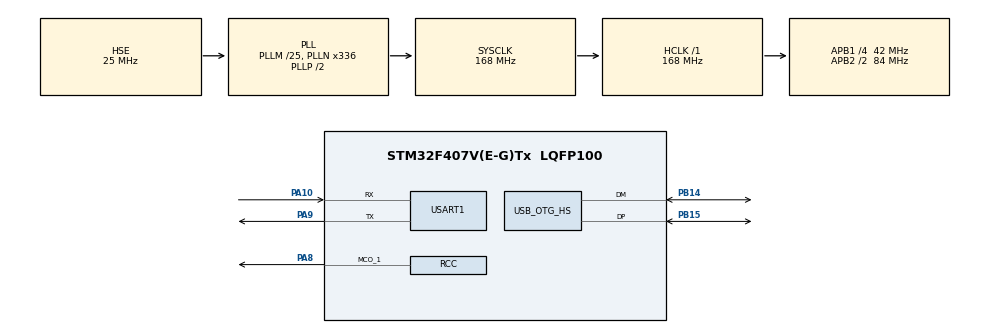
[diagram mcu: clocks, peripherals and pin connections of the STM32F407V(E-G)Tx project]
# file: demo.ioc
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FATFS._CODE_PAGE=850
FATFS._FS_EXFAT=1
FATFS._MAX_LFN=128
FATFS._STRF_ENCODE=0
FATFS._USE_LFN=2
Mcu.Family=STM32F4
Mcu.Name=STM32F407V(E-G)Tx
Mcu.Package=LQFP100
NVIC.OTG_HS_IRQn=true\:0\:0\:false\:false\:true\:false\:true\:true
NVIC.PriorityGroup=NVIC_PRIORITYGROUP_4
NVIC.TIM1_TRG_COM_TIM11_IRQn=true\:0\:0\:false\:false\:true\:false\:true\:true
NVIC.TimeBase=TIM1_TRG_COM_TIM11_IRQn
NVIC.TimeBaseIP=TIM11
PA10.Mode=Asynchronous
PA10.Signal=USART1_RX
PA13.Mode=Serial_Wire
PA13.Signal=SYS_JTMS-SWDIO
PA14.Mode=Serial_Wire
PA14.Signal=SYS_JTCK-SWCLK
PA8.GPIO_Speed=GPIO_SPEED_FREQ_VERY_HIGH
PA8.Mode=Clock-out-1
PA8.Signal=RCC_MCO_1
PA9.Mode=Asynchronous
PA9.Signal=USART1_TX
PB14.Mode=Host_FS
PB14.Signal=USB_OTG_HS_DM
PB15.Mode=Host_FS
PB15.Signal=USB_OTG_HS_DP
PC14-OSC32_IN.Mode=LSE-External-Oscillator
PC14-OSC32_IN.Signal=RCC_OSC32_IN
PC15-OSC32_OUT.Mode=LSE-External-Oscillator
PC15-OSC32_OUT.Signal=RCC_OSC32_OUT
PH0-OSC_IN.Mode=HSE-External-Oscillator
PH0-OSC_IN.Signal=RCC_OSC_IN
PH1-OSC_OUT.Mode=HSE-External-Oscillator
PH1-OSC_OUT.Signal=RCC_OSC_OUT
ProjectManager.HeapSize=0x400
ProjectManager.StackSize=0x1000
ProjectManager.TargetToolchain=MDK-ARM V5
RCC.48MHZClocksFreq_Value=48000000
RCC.AHBFreq_Value=168000000
RCC.APB1CLKDivider=RCC_HCLK_DIV4
RCC.APB1Freq_Value=42000000
RCC.APB1TimFreq_Value=84000000
RCC.APB2CLKDivider=RCC_HCLK_DIV2
RCC.APB2Freq_Value=84000000
RCC.APB2TimFreq_Value=168000000
RCC.CortexFreq_Value=168000000
RCC.HCLKFreq_Value=168000000
RCC.HSE_VALUE=25000000
RCC.HSI_VALUE=16000000
RCC.PLLM=25
RCC.PLLN=336
RCC.PLLQ=7
RCC.SYSCLKFreq_VALUE=168000000
RCC.SYSCLKSource=RCC_SYSCLKSOURCE_PLLCLK
RCC.VCOOutputFreq_Value=336000000
USART1.VirtualMode=VM_ASYNC
USB_HOST.SW_VBUS_DRIVE_MSC_HS=true
USB_HOST.USBH_DEBUG_LEVEL-MSC_HS=2
USB_HOST.USBH_HandleTypeDef-MSC_HS=hUsbHostHS
USB_HOST.VirtualModeHS=Msc
USB_OTG_HS.VirtualMode-Host_FS=Host_FS
VP_FATFS_VS_USB.Mode=USB
VP_SYS_VS_tim11.Mode=TIM11
VP_USB_HOST_VS_USB_HOST_MSC_HS.Mode=MSC_HS
board=custom

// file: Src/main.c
/* USER CODE BEGIN Header */
/**
 ******************************************************************************
 * @file           : main.c
 * @brief          : Main program body
 ******************************************************************************
 * @attention
 *
 * <h2><center>&copy; Copyright (c) 2019 STMicroelectronics.
 * All rights reserved.</center></h2>
 *
 * This software component is licensed by ST under Ultimate Liberty license
 * SLA0044, the "License"; You may not use this file except in compliance with
 * the License. You may obtain a copy of the License at:
 *                             www.st.com/SLA0044
 *
 ******************************************************************************
 */
/* USER CODE END Header */
#include "main.h"
#include "fatfs.h"
#include "usb_host.h"

/* USER CODE BEGIN Includes */
#include "usbh_msc_scsi.h"
/* USER CODE END Includes */

UART_HandleTypeDef huart1;

/* USER CODE BEGIN PV */
FATFS   fs;
FIL     UsbDataFile;
FRESULT FSresult;

uint32_t byteswritten, bytesread;                /* File write/read counts */
char     wtext[256] = "APP download was done! "; /* File write buffer */

#define IAP_PAGE_SIZE 2048  // 为了兼容F103

const char APP_FILE_NAME[] = "demo.bin";
FIL        UpdateFiles;
BYTE       iap_buffer[IAP_PAGE_SIZE];
UINT       BytesRead;
typedef void (*pFunction)(void);
pFunction     Jump_To_Application;
uint32_t      JumpAddress;
__IO uint32_t FlashProtection = 0;
uint8_t       tab_1024[1024]  = {0};

extern ApplicationTypeDef Appli_state;
/* USER CODE END PV */

void        SystemClock_Config(void);
static void MX_GPIO_Init(void);
static void MX_USART1_UART_Init(void);
void        MX_USB_HOST_Process(void);

/* USER CODE BEGIN PFP */
void FirmwareUpdate(void);
/* USER CODE END PFP */

int main(void)
{

    /* MCU Configuration--------------------------------------------------------*/

    /* Reset of all peripherals, Initializes the Flash interface and the Systick. */
    HAL_Init();

    /* Configure the system clock */
    SystemClock_Config();

    /* Initialize all configured peripherals */
    MX_GPIO_Init();
    MX_FATFS_Init();
    MX_USB_HOST_Init();
    MX_USART1_UART_Init();
    /* USER CODE BEGIN 2 */

    uint32_t timeout = HAL_GetTick() + 5000;  // 5s

    __HAL_FLASH_CLEAR_FLAG(FLASH_FLAG_EOP | FLASH_FLAG_OPERR | FLASH_FLAG_WRPERR |
                           FLASH_FLAG_PGAERR | FLASH_FLAG_PGPERR | FLASH_FLAG_PGSERR);
    printf("start program...\r\n");

    if (FLASH_If_GetWriteProtectionStatus() == 0)
    {
        printf("Flash Write protection is enabled.");

        if (FLASH_If_DisableWriteProtection() == 1)
        {
            printf("\n\rWrite protection is disabled.\n\r");
        }
        else
        {
            printf("Failed to disable write protection.\r\n");
        }
    }
    /* USER CODE END 2 */

    /* Infinite loop */
    while (1)
    {
        MX_USB_HOST_Process();

        /* USER CODE BEGIN 3 */
        if (Appli_state == APPLICATION_READY)
        {
            if (f_mount(&fs, (TCHAR const*)USBHPath, 1) != FR_OK)  // 这里USBHPath="0:/" {0x30,0x3a,0x2f,0x00}
            {
                /* efs initialisation fails*/
                USBH_ErrLog("> Failed to load file system ");
            }
            USBH_UsrLog("> Load file system OK");
            USBH_UsrLog("> start to iap ");
            FirmwareUpdate();
            FSresult = f_open(&UsbDataFile, "APPresult.txt", FA_CREATE_ALWAYS | FA_WRITE | FA_READ);
            if (FSresult == FR_OK)
            {
                USBH_UsrLog("> opne/create file OK");
            }
            else if (FSresult == FR_EXIST)
            {
                USBH_UsrLog("> file is already existed. Overwire it.");
            }
            else
            {
                USBH_ErrLog("> Failed to open/create file ");
            }
            FSresult = f_write(&UsbDataFile, wtext, strlen(wtext), (void*)&byteswritten);
            sprintf(wtext, "app name is %s.", APP_FILE_NAME);
            f_write(&UsbDataFile, wtext, strlen(wtext), (void*)&byteswritten);
            if (FSresult == FR_OK)
            {
                USBH_UsrLog("> write file OK");
            }
            else
            {
                USBH_ErrLog("> Failed to write file ");
            }
            f_close(&UsbDataFile);
            USBH_UsrLog("> close file ");
            FATFS_UnLinkDriver(USBHPath);
            USBH_UsrLog("> disconnect file system ");
            Appli_state = APPLICATION_IDLE;
        }
        else if (Appli_state == APPLICATION_IDLE && (HAL_GetTick() > timeout))
        {
            printf("No USB Disk, Jump_To_Application~\n\r");
#if defined(USE_HAL_DRIVER)
            HAL_RCC_DeInit();
#endif /* defined(USE_HAL_DRIVER) */
#if defined(USE_STDPERIPH_DRIVER)
            RCC_DeInit();
#endif
            HAL_NVIC_DisableIRQ(TIM1_TRG_COM_TIM11_IRQn);
            HAL_NVIC_DisableIRQ(OTG_HS_IRQn);
            JumpAddress = *(__IO uint32_t*)(APPLICATION_ADDRESS + 4);

            Jump_To_Application = (pFunction)JumpAddress;
            __set_MSP(*(__IO uint32_t*)APPLICATION_ADDRESS);
            Jump_To_Application();
        }
    }
    /* USER CODE END 3 */
}

void SystemClock_Config(void)
{
    RCC_OscInitTypeDef RCC_OscInitStruct = {0};
    RCC_ClkInitTypeDef RCC_ClkInitStruct = {0};

    /** Configure the main internal regulator output voltage
     */
    __HAL_RCC_PWR_CLK_ENABLE();
    __HAL_PWR_VOLTAGESCALING_CONFIG(PWR_REGULATOR_VOLTAGE_SCALE1);

    /** Initializes the RCC Oscillators according to the specified parameters
     * in the RCC_OscInitTypeDef structure.
     */
    RCC_OscInitStruct.OscillatorType      = RCC_OSCILLATORTYPE_HSI | RCC_OSCILLATORTYPE_HSE;
    RCC_OscInitStruct.HSEState            = RCC_HSE_ON;
    RCC_OscInitStruct.HSIState            = RCC_HSI_ON;
    RCC_OscInitStruct.HSICalibrationValue = RCC_HSICALIBRATION_DEFAULT;
    RCC_OscInitStruct.PLL.PLLState        = RCC_PLL_ON;
    RCC_OscInitStruct.PLL.PLLSource       = RCC_PLLSOURCE_HSE;
    RCC_OscInitStruct.PLL.PLLM            = 25;
    RCC_OscInitStruct.PLL.PLLN            = 336;
    RCC_OscInitStruct.PLL.PLLP            = RCC_PLLP_DIV2;
    RCC_OscInitStruct.PLL.PLLQ            = 7;
    if (HAL_RCC_OscConfig(&RCC_OscInitStruct) != HAL_OK)
    {
        Error_Handler();
    }

    /** Initializes the CPU, AHB and APB buses clocks
     */
    RCC_ClkInitStruct.ClockType      = RCC_CLOCKTYPE_HCLK | RCC_CLOCKTYPE_SYSCLK | RCC_CLOCKTYPE_PCLK1 | RCC_CLOCKTYPE_PCLK2;
    RCC_ClkInitStruct.SYSCLKSource   = RCC_SYSCLKSOURCE_PLLCLK;
    RCC_ClkInitStruct.AHBCLKDivider  = RCC_SYSCLK_DIV1;
    RCC_ClkInitStruct.APB1CLKDivider = RCC_HCLK_DIV4;
    RCC_ClkInitStruct.APB2CLKDivider = RCC_HCLK_DIV2;

    if (HAL_RCC_ClockConfig(&RCC_ClkInitStruct, FLASH_LATENCY_5) != HAL_OK)
    {
        Error_Handler();
    }
    HAL_RCC_MCOConfig(RCC_MCO1, RCC_MCO1SOURCE_HSI, RCC_MCODIV_1);
}

static void MX_USART1_UART_Init(void)
{

    huart1.Instance          = USART1;
    huart1.Init.BaudRate     = 115200;
    huart1.Init.WordLength   = UART_WORDLENGTH_8B;
    huart1.Init.StopBits     = UART_STOPBITS_1;
    huart1.Init.Parity       = UART_PARITY_NONE;
    huart1.Init.Mode         = UART_MODE_TX_RX;
    huart1.Init.HwFlowCtl    = UART_HWCONTROL_NONE;
    huart1.Init.OverSampling = UART_OVERSAMPLING_16;
    if (HAL_UART_Init(&huart1) != HAL_OK)
    {
        Error_Handler();
    }
}

static void MX_GPIO_Init(void)
{
    GPIO_InitTypeDef GPIO_InitStruct = {0};

    /* GPIO Ports Clock Enable */
    __HAL_RCC_GPIOC_CLK_ENABLE();
    __HAL_RCC_GPIOH_CLK_ENABLE();
    __HAL_RCC_GPIOB_CLK_ENABLE();
    __HAL_RCC_GPIOA_CLK_ENABLE();

    /*Configure GPIO pin : PA8 */
    GPIO_InitStruct.Pin       = GPIO_PIN_8;
    GPIO_InitStruct.Mode      = GPIO_MODE_AF_PP;
    GPIO_InitStruct.Pull      = GPIO_NOPULL;
    GPIO_InitStruct.Speed     = GPIO_SPEED_FREQ_VERY_HIGH;
    GPIO_InitStruct.Alternate = GPIO_AF0_MCO;
    HAL_GPIO_Init(GPIOA, &GPIO_InitStruct);

}

/* USER CODE BEGIN 4 */
int fputc(int ch, FILE* f)
{
    HAL_UART_Transmit(&huart1, (unsigned char*)&ch, 1, 1000);
    return (ch);
}

int fgetc(FILE* f)
{
    uint8_t ch = 0;
    HAL_UART_Receive(&huart1, &ch, 1, 0xffff);
    return ch;
}

void FirmwareUpdate(void)
{
    uint8_t   iap_status = HAL_OK;
    uint32_t  addrx, endaddr;
    uint32_t  iap_offset;
    uint32_t* pBuffer;

    {
        FSresult = f_open(&UpdateFiles, APP_FILE_NAME, FA_OPEN_EXISTING | FA_READ);

        if (FR_OK != FSresult)
        {
            printf("Not Find new App file :  ");
            printf(APP_FILE_NAME);
            printf("\n\r");
            return;
        }

        printf("Open app file Ok.\n\r");
        HAL_FLASH_Unlock();
        __HAL_FLASH_DATA_CACHE_DISABLE();
        printf("Unlock app flie Ok.\n\r");

        addrx      = APPLICATION_ADDRESS;              // 设置起始地址
        endaddr    = addrx + UpdateFiles.obj.objsize;  // 结束地址为起始地址加上文件大小。
        iap_status = STM32F4FLASH_CheckEmpty(addrx, endaddr);
        if (iap_status == HAL_FLASH_ERROR_NONE)
        {
            while (1)
            {
                FSresult = f_read(&UpdateFiles, iap_buffer, IAP_PAGE_SIZE, &BytesRead);
                if (FSresult || BytesRead == 0)
                {
                    break;
                }
                pBuffer = (uint32_t*)iap_buffer;
                for (iap_offset = 0; iap_offset < IAP_PAGE_SIZE || iap_offset < BytesRead; iap_offset += 4)
                {
                    if (HAL_FLASH_Program(FLASH_TYPEPROGRAM_WORD, addrx, *pBuffer) != HAL_OK)
                    {
                        printf("Flash download is wrong at %04x\n\r", addrx);
                        break;
                    }
                    addrx += 4;
                    pBuffer++;
                }
                if ((addrx - APPLICATION_ADDRESS) % (1024 * 64) == 0)
                {
                    printf("Flash download has been done for %dKB ...\n\r", (addrx - APPLICATION_ADDRESS) / 1024);
                }
                // LED1^=1;
                if (addrx >= endaddr)
                {
                    break;
                }
            }
            f_close(&UpdateFiles);
        }
        f_mount(&fs, (TCHAR const*)USBHPath, 0);

        printf("Download APP file is Ok.\n\r");
        __HAL_FLASH_DATA_CACHE_ENABLE();
        HAL_FLASH_Lock();
        printf("Flash Lock is Ok!\n\r");
    }
}

/* USER CODE END 4 */

void HAL_TIM_PeriodElapsedCallback(TIM_HandleTypeDef* htim)
{
    if (htim->Instance == TIM11)
    {
        HAL_IncTick();
    }
}

void Error_Handler(void)
{
}
